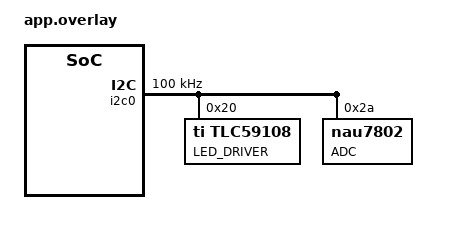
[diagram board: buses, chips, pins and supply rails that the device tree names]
&i2c0 {
	status = "okay";

	tlc59108: tlc59108@20 {
		compatible = "ti,tlc59108";
		reg = <0x20>;
		label = "LED_DRIVER";
	};
	
	nau7802: nau7802@2A {
		reg = <0x2A>;
		label = "ADC";
	};

	clock-frequency = <I2C_BITRATE_STANDARD>;
};

